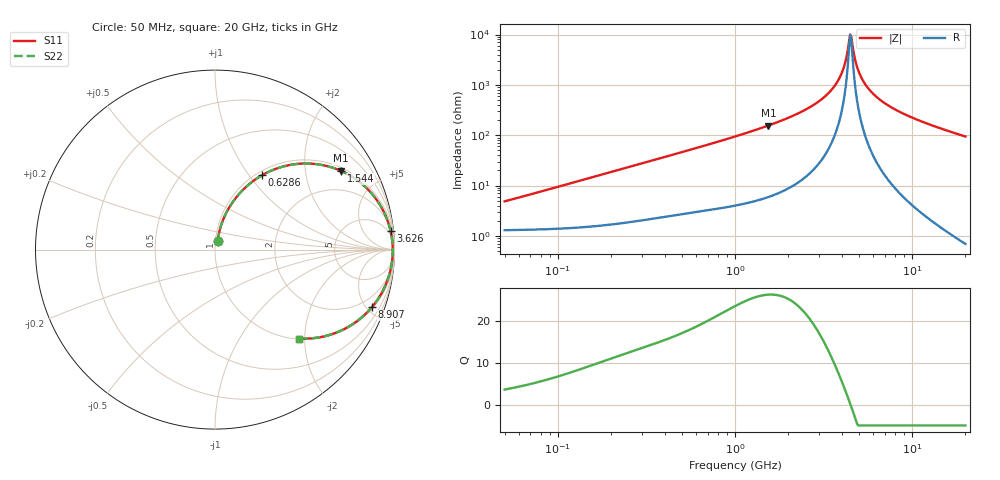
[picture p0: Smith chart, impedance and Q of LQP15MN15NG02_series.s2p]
!Murata Part Number: LQP15MN15NG02
!These Parameters are Measured in Series Mode Connection
!  o--[Z]--o
!Port1  Port2
!  o-------o
!Freq. Start=50[MHz] Stop=20[GHz], 401[Steps]
# Hz S RI R 50
!Freq.(Hz) S11(Real) S11(Imag) S21(Real) S21(Imag) S12(Real) S12(Imag) S22(Real) S22(Imag)
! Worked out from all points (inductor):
!   401 points, 50 MHz to 20 GHz, reference 50 ohm
!   read as one part in series: L = 14.9 nH near 51.52 MHz
!   highest Q = 26.4 at 1.544 GHz (marker M1), where L = 16.1 nH
!   self-resonance near 4.472 GHz
!   S11 on the Smith chart (normalised r, x): 50 MHz: 1.03, +0.09; 628.6 MHz: 1.06, +1.16; 1.544 GHz: 1.12, +3.12; 3.626 GHz: 3, +18; 8.907 GHz: 1.12, -5.38; 20 GHz: 1.01, -1.88
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5e7  0.0149 0.0454  0.9851 -0.0454  0.9851 -0.0454  0.0149 0.0454
1.364002e8  0.0298 0.1214  0.9702 -0.1214  0.9702 -0.1214  0.0298 0.1214
3.721004e8  0.1208 0.2942  0.8792 -0.2942  0.8792 -0.2942  0.1208 0.2942
6.285508e8  0.2617 0.4141  0.7383 -0.4141  0.7383 -0.4141  0.2617 0.4141
1e9  0.4709 0.4784  0.5291 -0.4784  0.5291 -0.4784  0.4709 0.4784
1.544007e9  0.7015 0.439  0.2985 -0.439  0.2985 -0.439  0.7015 0.439
2.728004e9  0.9259 0.2378  0.0741 -0.2378  0.0741 -0.2378  0.9259 0.2378
3.216634e9  0.9612 0.1619  0.0388 -0.1619  0.0388 -0.1619  0.9612 0.1619
3.626126e9  0.9781 0.1045  0.0219 -0.1045  0.0219 -0.1045  0.9781 0.1045
4.026975e9  0.987 0.0534  0.013 -0.0534  0.013 -0.0534  0.987 0.0534
4.212059e9  0.9891 0.0314  0.0109 -0.0314  0.0109 -0.0314  0.9891 0.0314
4.405649e9  0.9902 0.00928  0.00982 -0.00928  0.00982 -0.00928  0.9902 0.00928
4.472136e9  0.9903 0.00191  0.00967 -0.00191  0.00967 -0.00191  0.9903 0.00191
4.608136e9  0.9903 -0.0128  0.00972 0.0128  0.00972 0.0128  0.9903 -0.0128
4.81993e9  0.9894 -0.035  0.0106 0.035  0.0106 0.035  0.9894 -0.035
4.966507e9  0.9882 -0.0497  0.0118 0.0497  0.0118 0.0497  0.9882 -0.0497
5.352748e9  0.9833 -0.0865  0.0167 0.0865  0.0167 0.0865  0.9833 -0.0865
6.125241e9  0.9674 -0.152  0.0326 0.152  0.0326 0.152  0.9674 -0.152
7.442007e9  0.9277 -0.2435  0.0723 0.2435  0.0723 0.2435  0.9277 -0.2435
8.907419e9  0.8733 -0.3218  0.1267 0.3218  0.1267 0.3218  0.8733 -0.3218
1.354865e10  0.6853 -0.4586  0.3147 0.4586  0.3147 0.4586  0.6853 -0.4586
2e10  0.4702 -0.4955  0.5298 0.4955  0.5298 0.4955  0.4702 -0.4955
